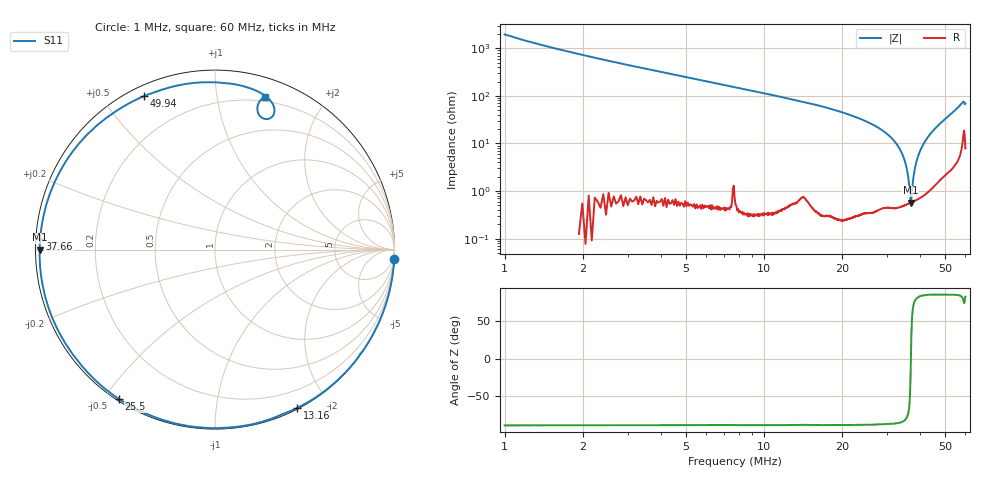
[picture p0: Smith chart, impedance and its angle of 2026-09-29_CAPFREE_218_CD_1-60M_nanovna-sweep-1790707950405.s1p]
! NanoVNA Web complex sweep
! Processing: unaveraged complex samples; linear segment spacing; no smoothing
# Hz S RI R 50
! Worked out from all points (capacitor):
!   1010 points, 1 MHz to 60 MHz, reference 50 ohm
!   read as one part to ground: C = 108 pF near 1.292 MHz
!   lowest |Z| = 574 mohm at 36.96 MHz (marker M1)
!   series resonance near 36.97 MHz, so ESL is about 170 nH
!   S11 on the Smith chart (normalised r, x): 1 MHz: -0, -39; 13.16 MHz: 0.01, -1.64; 25.5 MHz: 0.01, -0.55; 37.66 MHz: 0.01, +0.03; 49.94 MHz: 0.04, +0.64; 60 MHz: 0.16, +1.36
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1000000  0.9989 -0.0513
4625388  0.9335 -0.3568
8426198  0.7682 -0.6379
1.076516e7  0.6256 -0.7771
1.316259e7  0.4569 -0.8828
1.579392e7  0.2598 -0.9599
1.947778e7  -0.0493 -0.9936
2.316165e7  -0.3584 -0.9247
2.550061e7  -0.5356 -0.8318
2.801499e7  -0.7008 -0.6938
3.052937e7  -0.8324 -0.5243
3.374544e7  -0.9434 -0.2725
3.696151e7  -0.9773 -0.000785
3.76632e7  -0.9746 0.0592
3.789709e7  -0.9728 0.079
4.152248e7  -0.8929 0.3775
4.526482e7  -0.7129 0.6399
4.75453e7  -0.5664 0.7616
4.994274e7  -0.3929 0.8563
5.263254e7  -0.1803 0.9198
5.438676e7  -0.0314 0.9325
5.614098e7  0.1208 0.9189
5.748588e7  0.24 0.8804
5.842147e7  0.3157 0.8207
5.888926e7  0.3309 0.7672
5.929858e7  0.2883 0.727
5.964942e7  0.2359 0.7786
6.000027e7  0.2764 0.8523
